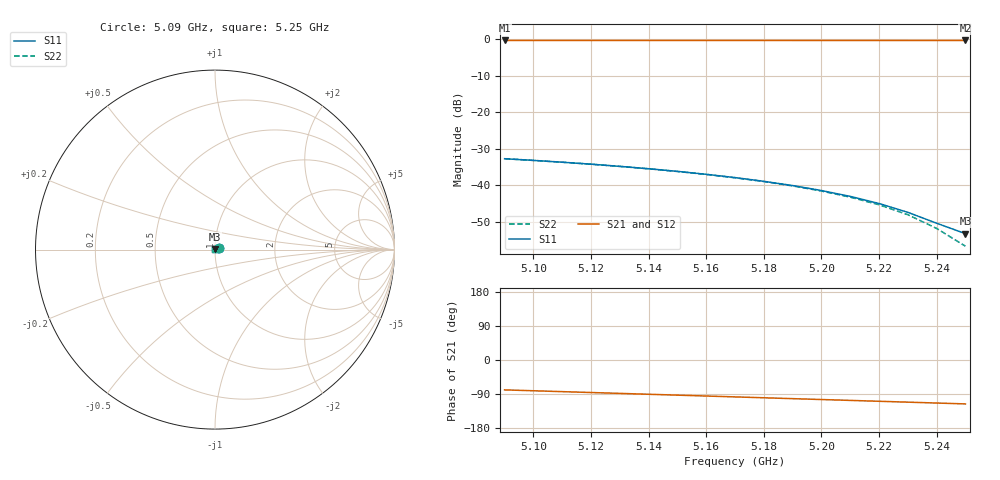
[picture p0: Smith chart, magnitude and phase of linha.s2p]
! Touchstone file exported from HFSS 2024.2.0
!  File:  D:/dev/EMBRAER/P1H/R03_Estudo/ZYF300CA-C/cupom_120/Linha_ZYF300CA_C_120.aedt
!  Generated:  10:45:45 PM Nov  6, 2026
!  Design:  Linha
!  Project:  Linha_ZYF300CA_C_120
!  Setup:  Perda
!  Solution:  Banda
# GHz S RI R 50.000000
! Terminal data exported
! Port[1] = E
! Port[2] = S
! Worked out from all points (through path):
!   17 points, 5.09 GHz to 5.25 GHz, reference 50 ohm
!   highest |S21| = -0.33 dB at 5.09 GHz (marker M1); lowest = -0.3 dB at 5.25 GHz (marker M2)
!   group delay of S21, straight-line fit = 642 ps
!   lowest |S11| = -53.2 dB at 5.25 GHz (marker M3), VSWR 1.00, Z = 50.1 + j0.171 ohm
!   |S11| at or under -10 dB: start of sweep to end of sweep
!   |S22| runs from -56.6 to -32.7 dB; largest |S21 - S12| = 0
5.09  0.0217 0.00803  0.1856 -0.9442  0.1856 -0.9442  0.0219 0.00767
! Gamma 0 0 0 0
! Port Impedance 50 0 50 0
5.1  0.0209 0.00691  0.1474 -0.9509  0.1474 -0.9509  0.021 0.00651
5.11  0.0199 0.00587  0.109 -0.956  0.109 -0.956  0.02 0.00544
5.12  0.0189 0.0049  0.0703 -0.9596  0.0703 -0.9596  0.019 0.00444
5.13  0.0178 0.00402  0.0316 -0.9616  0.0316 -0.9616  0.0178 0.00353
5.14  0.0166 0.00324  -0.00721 -0.962  -0.00721 -0.962  0.0166 0.00271
5.15  0.0153 0.00255  -0.046 -0.9609  -0.046 -0.9609  0.0154 0.002
5.16  0.014 0.00196  -0.0847 -0.9582  -0.0847 -0.9582  0.014 0.00138
5.17  0.0127 0.00148  -0.1233 -0.954  -0.1233 -0.954  0.0127 0.000876
5.18  0.0113 0.0011  -0.1617 -0.9482  -0.1617 -0.9482  0.0113 0.000481
5.19  0.00991 0.000843  -0.1998 -0.9408  -0.1998 -0.9408  0.00983 0.0002
5.2  0.00848 0.000698  -0.2376 -0.9319  -0.2376 -0.9319  0.00837 3.65e-05
5.21  0.00704 0.000667  -0.275 -0.9215  -0.275 -0.9215  0.0069 -9.52e-06
5.22  0.0056 0.000753  -0.3119 -0.9096  -0.3119 -0.9096  0.00543 6.29e-05
5.23  0.00417 0.000955  -0.3484 -0.8962  -0.3484 -0.8962  0.00396 0.000254
5.24  0.00276 0.00127  -0.3842 -0.8814  -0.3842 -0.8814  0.00252 0.000562
5.25  0.00137 0.0017  -0.4195 -0.8651  -0.4195 -0.8651  0.00109 0.000986
